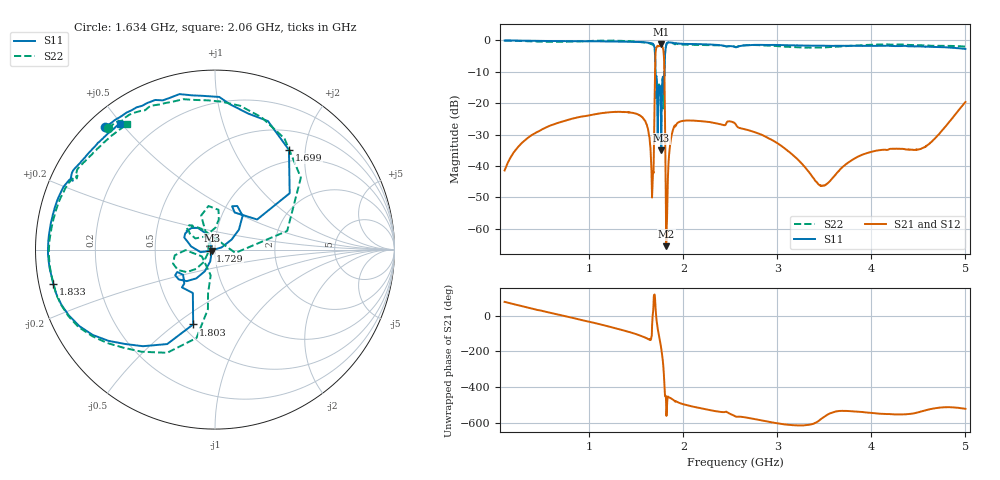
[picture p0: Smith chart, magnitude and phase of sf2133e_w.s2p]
# Hz S RI R 50
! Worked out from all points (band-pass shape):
!   1601 points, 100 MHz to 5 GHz, reference 50 ohm
!   highest |S21| = -1.22 dB at 1.76 GHz (marker M1); lowest = -65.5 dB at 1.818 GHz (marker M2)
!   |S21| within 3 dB of the highest: 1.705 GHz to 1.792 GHz (87.3 MHz wide, 4.99 % of centre)
!   lowest |S11| = -34.9 dB at 1.766 GHz (marker M3), VSWR 1.04, Z = 48.3 - j0.511 ohm
!   |S11| at or under -10 dB: 1.704 GHz to 1.801 GHz (96.41 MHz wide, 5.5 % of centre)
!   |S22| runs from -27.3 to 0.0 dB; largest |S21 - S12| = 0.0021
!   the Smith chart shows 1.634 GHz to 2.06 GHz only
!   S11 on the Smith chart (normalised r, x): 1.634 GHz: 0.05, +0.45; 1.699 GHz: 0.80, +1.70; 1.729 GHz: 0.95, -0.01; 1.803 GHz: 0.57, -0.58; 1.833 GHz: 0.04, -0.11; 2.06 GHz: 0.08, +0.49
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1e8  0.9725 -0.2197  0.00196 0.00826  0.00203 0.00826  0.9702 -0.2202
5.2875e8  0.3799 -0.9023  0.0371 0.0155  0.0373 0.0155  0.3579 -0.881
9.176875e8  -0.4177 -0.8785  0.0554 -0.0259  0.0555 -0.0257  -0.4118 -0.8751
1.352562e9  -0.946 -0.1397  0.0106 -0.0717  0.0102 -0.0719  -0.9698 -0.1594
1.634312e9  -0.6117 0.6837  -0.0212 -0.0232  -0.0212 -0.0233  -0.595 0.6753
1.668e9  -0.3333 0.8336  0.00158 -0.00272  0.00159 -0.00276  -0.3076 0.8088
1.698625e9  0.4119 0.5558  -0.0615 0.2413  -0.0614 0.2417  0.4784 0.401
1.72925e9  -0.0273 -0.00657  0.1811 -0.7946  0.1803 -0.7957  -0.0593 0.0717
1.735375e9  -0.1335 0.0178  -0.0753 -0.8125  -0.0759 -0.8136  -0.1412 0.0902
1.759875e9  -0.0555 0.0935  -0.8379 -0.2286  -0.8384 -0.2293  -0.0472 0.0805
1.766e9  -0.0171 -0.00528  -0.8608 0.0853  -0.8591 0.0854  -0.0391 -0.0186
1.784375e9  -0.2218 -0.1435  -0.0849 0.7354  -0.0841 0.7359  -0.2241 -0.0318
1.80275e9  -0.1216 -0.4167  0.0415 -0.1363  0.0411 -0.1364  -0.1034 -0.4927
1.818062e9  -0.6814 -0.4755  -0.000486 -0.000207  -0.000483 -0.000214  -0.6836 -0.4826
1.833375e9  -0.9009 -0.1917  -0.00052 -0.00372  -0.000469 -0.00367  -0.9014 -0.1831
1.891562e9  -0.8584 0.3205  -0.0138 -0.0355  -0.0138 -0.0354  -0.8349 0.34
2.06e9  -0.5293 0.6998  -0.0434 -0.0305  -0.0434 -0.0304  -0.4906 0.6977
2.55e9  0.2809 0.7345  -0.0437 0.0191  -0.0435 0.019  0.3145 0.7257
3.367688e9  0.7786 -0.2703  -0.0026 0.00644  -0.0026 0.00649  0.7003 -0.3178
4.185375e9  -0.2784 -0.773  -0.0181 0.0035  -0.0181 0.00342  -0.2502 -0.8196
4.574312e9  -0.7051 -0.3803  -0.0201 -0.00342  -0.0202 -0.00337  -0.6646 -0.5006
5e9  -0.6844 0.2573  -0.0994 -0.0317  -0.1002 -0.0313  -0.7877 0.109
